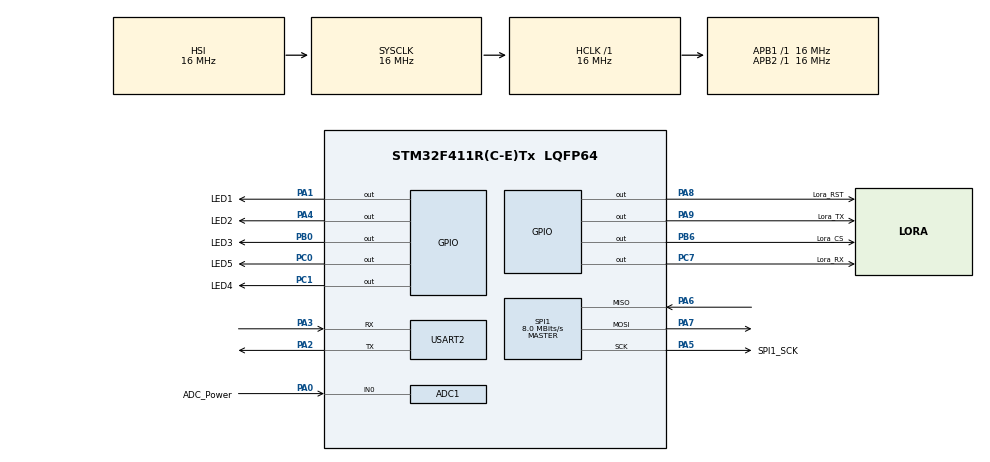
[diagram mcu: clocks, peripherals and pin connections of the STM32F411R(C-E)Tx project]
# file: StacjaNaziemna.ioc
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ADC1.Channel-0\#ChannelRegularConversion=ADC_CHANNEL_0
ADC1.NbrOfConversionFlag=1
ADC1.Rank-0\#ChannelRegularConversion=1
ADC1.SamplingTime-0\#ChannelRegularConversion=ADC_SAMPLETIME_3CYCLES
ADC1.master=1
Mcu.Family=STM32F4
Mcu.Name=STM32F411R(C-E)Tx
Mcu.Package=LQFP64
NVIC.PriorityGroup=NVIC_PRIORITYGROUP_4
NVIC.TIM1_TRG_COM_TIM11_IRQn=true\:0\:0\:false\:false\:true
NVIC.USART2_IRQn=true\:0\:0\:false\:false\:true
PA0-WKUP.GPIO_Label=ADC_Power
PA0-WKUP.Signal=ADCx_IN0
PA1.GPIO_Label=LED1
PA1.Signal=GPIO_Output
PA2.Mode=Asynchronous
PA2.Signal=USART2_TX
PA3.Mode=Asynchronous
PA3.Signal=USART2_RX
PA4.GPIO_Label=LED2
PA4.Signal=GPIO_Output
PA5.GPIO_Label=SPI1_SCK
PA5.Mode=Full_Duplex_Master
PA5.Signal=SPI1_SCK
PA6.Mode=Full_Duplex_Master
PA6.Signal=SPI1_MISO
PA7.Mode=Full_Duplex_Master
PA7.Signal=SPI1_MOSI
PA8.GPIO_Label=Lora_RST
PA8.Signal=GPIO_Output
PA9.GPIO_Label=Lora_TX
PA9.Signal=GPIO_Output
PB0.GPIO_Label=LED3
PB0.Signal=GPIO_Output
PB6.GPIO_Label=Lora_CS
PB6.Signal=GPIO_Output
PC0.GPIO_Label=LED5
PC0.Signal=GPIO_Output
PC1.GPIO_Label=LED4
PC1.Signal=GPIO_Output
PC7.GPIO_Label=Lora_RX
PC7.Signal=GPIO_Output
ProjectManager.HeapSize=0x200
ProjectManager.StackSize=0x400
ProjectManager.TargetToolchain=SW4STM32
RCC.AHBFreq_Value=16000000
RCC.APB1Freq_Value=16000000
RCC.APB2Freq_Value=16000000
RCC.CortexFreq_Value=16000000
RCC.HSE_VALUE=25000000
RCC.HSI_VALUE=16000000
RCC.LSE_VALUE=32768
RCC.SYSCLKFreq_VALUE=16000000
RCC.VCOOutputFreq_Value=192000000
SH.ADCx_IN0.0=ADC1_IN0,IN0
SPI1.CalculateBaudRate=8.0 MBits/s
SPI1.Direction=SPI_DIRECTION_2LINES
SPI1.Mode=SPI_MODE_MASTER
SPI1.VirtualType=VM_MASTER
TIM11.Period=799
TIM11.Prescaler=9999
USART2.VirtualMode=VM_ASYNC
VP_TIM11_VS_ClockSourceINT.Mode=Enable_Timer
board=StacjaNaziemna

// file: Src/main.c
/**
 ******************************************************************************
 * File Name          : main.c
 * Description        : Main program body
 ******************************************************************************
 ** This notice applies to any and all portions of this file
 * that are not between comment pairs USER CODE BEGIN and
 * USER CODE END. Other portions of this file, whether
 * inserted by the user or by software development tools
 * are owned by their respective copyright owners.
 *
 * COPYRIGHT(c) 2018 STMicroelectronics
 *
 * Redistribution and use in source and binary forms, with or without modification,
 * are permitted provided that the following conditions are met:
 *   1. Redistributions of source code must retain the above copyright notice,
 *      this list of conditions and the following disclaimer.
 *   2. Redistributions in binary form must reproduce the above copyright notice,
 *      this list of conditions and the following disclaimer in the documentation
 *      and/or other materials provided with the distribution.
 *   3. Neither the name of STMicroelectronics nor the names of its contributors
 *      may be used to endorse or promote products derived from this software
 *      without specific prior written permission.
 *
 * THIS SOFTWARE IS PROVIDED BY THE COPYRIGHT HOLDERS AND CONTRIBUTORS "AS IS"
 * AND ANY EXPRESS OR IMPLIED WARRANTIES, INCLUDING, BUT NOT LIMITED TO, THE
 * IMPLIED WARRANTIES OF MERCHANTABILITY AND FITNESS FOR A PARTICULAR PURPOSE ARE
 * DISCLAIMED. IN NO EVENT SHALL THE COPYRIGHT HOLDER OR CONTRIBUTORS BE LIABLE
 * FOR ANY DIRECT, INDIRECT, INCIDENTAL, SPECIAL, EXEMPLARY, OR CONSEQUENTIAL
 * DAMAGES (INCLUDING, BUT NOT LIMITED TO, PROCUREMENT OF SUBSTITUTE GOODS OR
 * SERVICES; LOSS OF USE, DATA, OR PROFITS; OR BUSINESS INTERRUPTION) HOWEVER
 * CAUSED AND ON ANY THEORY OF LIABILITY, WHETHER IN CONTRACT, STRICT LIABILITY,
 * OR TORT (INCLUDING NEGLIGENCE OR OTHERWISE) ARISING IN ANY WAY OUT OF THE USE
 * OF THIS SOFTWARE, EVEN IF ADVISED OF THE POSSIBILITY OF SUCH DAMAGE.
 *
 ******************************************************************************
 */
#include "main.h"
#include "stm32f4xx_hal.h"
#include "string.h"

/* USER CODE BEGIN Includes */
#include "aes.h"

#define FREQUENCY  868100000lu // in Mhz! (868.1)

#define DEV_ADDR                              (uint32_t)0x260112BA
// network session key
static const uint8_t NwkSKey[16] =
{ 0x47, 0xB8, 0xCE, 0xE5, 0xA2, 0x82, 0xBC, 0xB4, 0x73, 0xA0, 0xC1, 0xEF, 0x5C,
		0xF3, 0x01, 0x6A };

// application session key
static const uint8_t ArtSKey[16] =
{ 0x4F, 0xE9, 0xA8, 0x61, 0x02, 0x33, 0xA6, 0xA4, 0x7C, 0x87, 0x0D, 0xC4, 0x9C,
		0x10, 0x37, 0xF1 };

static const uint8_t dupa[46] =
{ '\r', '\n', '-', '-', '-', '-', '-', '-', '-', '-', '-', '-', '-', '-', '-',
		'-', '-', '-', '-', '-', '-', '-', '-', '-', '-', '-', '-', '-', '-',
		'-', '-', '-', '-', '-', '-', '-', '-', '-', '-', '-', '-', '-', '-',
		'\r', '\n' };

static const char main_error_strings[17][17] = {"I2C_PRESSURE_ERR", "I2C_RTC_ERR",
		"POWER_LED_FLAG", "I2C_MAX30205_ERR","I2C_HDC1080_ERR","I2C_INA3221_ERR",
		"I2C_GYRO_ERR", "I2C_ACC_ERR","I2C_BARO_ERR","DS18_ERR","SD_ERR",
		"GPS_ERR","WIFI_ERR","LORA_ERR", "ODCINACZ_FLAG", "RUNNING_FLAG"
};

static const char exp_error_strings[17][17] = {"TEMP1_DN_OK", "TEMP2_DN_OK","TEMP3_DN_OK",
		"TEMP4_DN_OK","TEMP5_DN_OK","TEMP6_DN_OK","TEMP1_UP_OK",
		"TEMP2_UP_OK","TEMP3_UP_OK","TEMP4_UP_OK","TEMP5_UP_OK",
		"TEMP6_UP_OK","RTC_ERR","LTC_ERR","SD_ERR",
		"RUNNING",
};
/* USER CODE END Includes */

ADC_HandleTypeDef hadc1;

SPI_HandleTypeDef hspi1;

TIM_HandleTypeDef htim11;

UART_HandleTypeDef huart2;

/* USER CODE BEGIN PV */
/* Private variables ---------------------------------------------------------*/
uint8_t requestedStateCommand[5];
uint8_t requestedState = 0;
volatile uint8_t UART_Received_Flag = 0;
/* USER CODE END PV */

void SystemClock_Config(void);
static void MX_GPIO_Init(void);
static void MX_ADC1_Init(void);
static void MX_USART2_UART_Init(void);
static void MX_SPI1_Init(void);
static void MX_TIM11_Init(void);

/* USER CODE BEGIN PFP */
/* Private function prototypes -----------------------------------------------*/
void writeLoraRegister(uint8_t address, uint8_t data);
uint8_t readLoraRegister(uint8_t address);
uint8_t clearBit(uint8_t value, uint8_t bit);
uint8_t setBit(uint8_t value, uint8_t bit);
void Lora_Init();
uint8_t LoraReceive();
uint8_t LoraWANParseDN(uint8_t* data, uint8_t len);
static void LoraWANTransmitByte(uint8_t* data, uint8_t size);
void LoraTransmitByte(uint8_t *data, uint8_t size);

void HAL_UART_RxCpltCallback(UART_HandleTypeDef *huart)
{
	UART_Received_Flag = 1;
	HAL_GPIO_WritePin(LED4_GPIO_Port, LED4_Pin, GPIO_PIN_SET);
	HAL_UART_Receive_IT(&huart2, requestedStateCommand, 5); // Ponowne w��czenie nas�uchiwania
}
void HAL_TIM_PeriodElapsedCallback(TIM_HandleTypeDef *htim);
/* USER CODE END PFP */

int main(void)
{

	/* MCU Configuration----------------------------------------------------------*/

	/* Reset of all peripherals, Initializes the Flash interface and the Systick. */
	HAL_Init();

	/* Configure the system clock */
	SystemClock_Config();

	/* Initialize all configured peripherals */
	MX_GPIO_Init();
	MX_ADC1_Init();
	MX_USART2_UART_Init();
	MX_SPI1_Init();
	MX_TIM11_Init();

	/* USER CODE BEGIN 2 */
	Lora_Init();
	uint8_t ReceivedNbOfBytes = 0;
	uint8_t FifoCurrRxAddr = 0;
	uint8_t UARTBufLen = 0;
	uint8_t ReceivedData[64];
	uint8_t ReceivedPayload[64];

	uint16_t statusMain = 0;
	uint16_t statusKom = 0;
	int32_t alt = 0;
	uint32_t lat = 0;
	uint32_t lon = 0;
	uint32_t tempInfo = 0;
	uint16_t lastUplink = 0;
	int16_t meanTemp = 0;
	uint32_t sec = 0;
	uint32_t tx_sec = 0;

	char UARTBuf[512];
	uint8_t DNframe[2] = {0x00, 0x01};
	strcpy((char*)requestedStateCommand, "NICOO");
	HAL_UART_Receive_IT(&huart2, requestedStateCommand, 5);
	/* USER CODE END 2 */

	/* Infinite loop */
	/* USER CODE BEGIN WHILE */
	while (1)
	{

		memset(UARTBuf, 0x00, sizeof(UARTBuf));
		UARTBufLen = 0;

		ReceivedNbOfBytes = LoraReceive();
		sec++;
		if (ReceivedNbOfBytes)
		{
			FifoCurrRxAddr = readLoraRegister(0x10);
			writeLoraRegister(0x0D, FifoCurrRxAddr);
			memset(ReceivedData, 0, sizeof(ReceivedData));

			UARTBufLen = sprintf(UARTBuf, "==================Received packet==================\r\nRaw  data = ");
			HAL_UART_Transmit(&huart2, (uint8_t *) UARTBuf, UARTBufLen, 100);

			UARTBufLen = 0;
			for (int i = 0; i < ReceivedNbOfBytes; i++)
			{
				if (i < sizeof(ReceivedData))
				{
					ReceivedData[i] = readLoraRegister(0x00);
				}
				UARTBufLen += sprintf(&UARTBuf[UARTBufLen], "%02x ", ReceivedData[i]);
			}
			UARTBufLen += sprintf(&UARTBuf[UARTBufLen], "\r\n");
			HAL_UART_Transmit(&huart2, (uint8_t *) UARTBuf, UARTBufLen, 100);

			if (LoraWANParseDN(ReceivedData, ReceivedNbOfBytes) == 0x01)
			{
				// packet verified and ok
				UARTBufLen = sprintf(UARTBuf, "Packet verified successfully\r\nDecrypted payload = ");
				HAL_UART_Transmit(&huart2, (uint8_t *) UARTBuf, UARTBufLen, 100);

				memcpy(ReceivedPayload, &ReceivedData[9], ReceivedNbOfBytes - 13);
				UARTBufLen = 0;
				for (int i = 0; i < ReceivedNbOfBytes - 13; i++)
				{
					UARTBufLen += sprintf(&UARTBuf[UARTBufLen], "%02x ", ReceivedPayload[i]);
				}
				UARTBufLen += sprintf(&UARTBuf[UARTBufLen], "\r\n");
				HAL_UART_Transmit(&huart2, (uint8_t *) UARTBuf, UARTBufLen, 100);

			    alt = (int32_t)((uint32_t)ReceivedPayload[0] << 24) + ((uint32_t)ReceivedPayload[1] << 16) + ((uint32_t)ReceivedPayload[2] << 8) + ((uint32_t)ReceivedPayload[3]);
			    lat = (uint32_t)(((uint32_t)ReceivedPayload[4] << 24) + ((uint32_t)ReceivedPayload[5] << 16) + ((uint32_t)ReceivedPayload[6] << 8) + ((uint32_t)ReceivedPayload[7]));
			    lon = (uint32_t)(((uint32_t)ReceivedPayload[8] << 24) + ((uint32_t)ReceivedPayload[9] << 16) + ((uint32_t)ReceivedPayload[10] << 8) + ((uint32_t)ReceivedPayload[11]));
			    meanTemp = (int16_t)((uint16_t)ReceivedPayload[12] << 8) + ((uint16_t)ReceivedPayload[13]);
			    tempInfo = (uint32_t)((uint32_t)ReceivedPayload[14] << 16) + ((uint32_t)ReceivedPayload[15] << 8) + ((uint32_t)ReceivedPayload[16]);
			    lastUplink =  ((uint16_t)ReceivedPayload[17] << 8) + ((uint16_t)ReceivedPayload[18]);
			    statusMain = ((uint16_t)ReceivedPayload[19] << 8) + ((uint16_t)ReceivedPayload[20]);
			    statusKom = ((uint16_t)ReceivedPayload[21] << 8) + ((uint16_t)ReceivedPayload[22]);

				UARTBufLen = sprintf(UARTBuf, "Altitude = %ld\r\n", alt);
				HAL_UART_Transmit(&huart2, (uint8_t *) UARTBuf, UARTBufLen, 100);
				UARTBufLen = sprintf(UARTBuf, "Lattitude = %lu\r\n", lat);
				HAL_UART_Transmit(&huart2, (uint8_t *) UARTBuf, UARTBufLen, 100);
				UARTBufLen = sprintf(UARTBuf, "Longitutde = %lu\r\n", lon);
				HAL_UART_Transmit(&huart2, (uint8_t *) UARTBuf, UARTBufLen, 100);
				UARTBufLen = sprintf(UARTBuf, "Mean Temp = %d\r\n", meanTemp);
				HAL_UART_Transmit(&huart2, (uint8_t *) UARTBuf, UARTBufLen, 100);
				UARTBufLen = sprintf(UARTBuf, "Temp Info = %08lx\r\n", tempInfo);
				HAL_UART_Transmit(&huart2, (uint8_t *) UARTBuf, UARTBufLen, 100);
				UARTBufLen = sprintf(UARTBuf, "Last Uplink = %04x\r\n", lastUplink);
				HAL_UART_Transmit(&huart2, (uint8_t *) UARTBuf, UARTBufLen, 100);
				UARTBufLen = sprintf(UARTBuf, "Status Main = %04x (", statusMain);
				HAL_UART_Transmit(&huart2, (uint8_t *) UARTBuf, UARTBufLen, 100);

				for (int i = 0; i < 15; i++)
				{
					if ((statusMain & (1 << i)) != 0)
					{
						UARTBufLen = sprintf((char*) UARTBuf, "%s,", main_error_strings[i]);
						HAL_UART_Transmit(&huart2, (uint8_t *) UARTBuf, UARTBufLen, 100);
					}
				}

				UARTBufLen = sprintf(UARTBuf, ")\r\nStatus Exp = %04x (", statusKom);
				HAL_UART_Transmit(&huart2, (uint8_t *) UARTBuf, UARTBufLen, 100);

				for (int i = 0; i < 15; i++)
				{
					if ((statusKom & (1 << i)) != 0)
					{
						UARTBufLen = sprintf((char*) UARTBuf, "%s,", exp_error_strings[i]);
						HAL_UART_Transmit(&huart2, (uint8_t *) UARTBuf, UARTBufLen, 100);
					}
				}
				UARTBufLen = sprintf(UARTBuf, ")\r\n");
				HAL_UART_Transmit(&huart2, (uint8_t *) UARTBuf, UARTBufLen, 100);

			}
			else
			{

			}
			HAL_Delay(5);

			/*
			 PktSnr = readLoraRegister(0x19);
			 PktSnr = 4 * PktSnr;
			 RSSI = readLoraRegister(0x1A);
			 if (PktSnr >= 0)
			 RSSI = RSSI - 139;
			 else
			 RSSI = RSSI - 139 + PktSnr * 0.25;
			 memset(PacketData, 0, sizeof(PacketData));
			 sprintf(PacketData, "\r\nPacket SNR = %d\n\rPacket RSSI = %d\r\n",
			 PktSnr, RSSI);
			 HAL_Delay(10);
			 HAL_UART_Transmit_IT(&huart2, (uint8_t *) PacketData,
			 sizeof(PacketData));
			 */
		}
		else
		{
			if (UART_Received_Flag)
			{
				// send immidiately if received data from uart
				UART_Received_Flag = 0;
				if (!strncmp((char*)&requestedStateCommand, "ODCIN", 5))
				{
					requestedState = 2;
				}
				else if ((char*)!strncmp(&requestedStateCommand, "POWON", 5))
				{
					requestedState = 3;
				}
				else if ((char*)!strncmp(&requestedStateCommand, "POWOF", 5))
				{
					requestedState = 4;
				}
				else if ((char*)!strncmp(&requestedStateCommand, "ODCOF", 5))
				{
					requestedState = 5;
				}
				else if ((char*)!strncmp(&requestedStateCommand, "START", 5))
				{
					requestedState = 6;
				}
				else if ((char*)!strncmp(&requestedStateCommand, "STOPP", 5))
				{
					requestedState = 7;
				}
				else if ((char*)!strncmp(&requestedStateCommand, "STAT0", 5))
				{
					requestedState = 0x10;
				}
				else if ((char*)!strncmp(&requestedStateCommand, "STAT1", 5))
				{
					requestedState = 0x11;
				}
				else if ((char*)!strncmp(&requestedStateCommand, "STAT2", 5))
				{
					requestedState = 0x12;
				}
				else if ((char*)!strncmp(&requestedStateCommand, "STAT3", 5))
				{
					requestedState = 0x13;
				}
				else
				{
					requestedState = 0;
				}
				switch (requestedState)
				{
				case 0x13:
					DNframe[0] = 0x00;
					DNframe[1] = 0x13;
					break;
				case 0x12:
					DNframe[0] = 0x00;
					DNframe[1] = 0x12;
					break;
				case 0x11:
					DNframe[0] = 0x00;
					DNframe[1] = 0x11;
					break;
				case 0x10:
					DNframe[0] = 0x00;
					DNframe[1] = 0x10;
					break;
				case 7:
					DNframe[0] = 0x00;
					DNframe[1] = 0x07;
					break;
				case 6:
					DNframe[0] = 0x00;
					DNframe[1] = 0x06;
					break;
				case 5:
					DNframe[0] = 0x00;
					DNframe[1] = 0x05;
					break;
				case 4:
					DNframe[0] = 0x00;
					DNframe[1] = 0x04;
					break;
				case 3:
					DNframe[0] = 0x00;
					DNframe[1] = 0x03;
					break;
				case 2:
					DNframe[0] = 0x00;
					DNframe[1] = 0x02;
					break;
				default:
					DNframe[0] = 0x00;
					DNframe[1] = 0x01;
					break;
				}
				LoraWANTransmitByte(DNframe, 2);
				tx_sec = sec;
				UARTBufLen = sprintf(UARTBuf, "Sent %02x %02x \r\n", DNframe[0], DNframe[1]);
				HAL_UART_Transmit(&huart2, (uint8_t *) UARTBuf, UARTBufLen, 100);
			}
			else
			{
				if (sec-tx_sec > 150)
				{
					// if time passed from last TX
					DNframe[0] = 0x00;
					DNframe[1] = 0x01;
					LoraWANTransmitByte(DNframe, 2);
					tx_sec = sec;
					UARTBufLen = sprintf(UARTBuf, "Sent %02x %02x \r\n", DNframe[0], DNframe[1]);
					HAL_UART_Transmit(&huart2, (uint8_t *) UARTBuf, UARTBufLen, 100);
				}
			}

			memset(UARTBuf, 0, sizeof(UARTBuf));
			UARTBufLen = sprintf(UARTBuf, ".");
			HAL_UART_Transmit(&huart2, (uint8_t *) UARTBuf, UARTBufLen, 100);
			HAL_GPIO_TogglePin(LED3_GPIO_Port, LED3_Pin);
			HAL_Delay(5);
			//HAL_GPIO_WritePin(LED3_GPIO_Port, LED3_Pin, GPIO_PIN_RESET);
		}
		/* USER CODE END WHILE */
		/* USER CODE BEGIN 3 */

		/* USER CODE BEGIN 3 */
	}
	/* USER CODE END 3 */

}

/** System Clock Configuration
 */
void SystemClock_Config(void)
{

	RCC_OscInitTypeDef RCC_OscInitStruct;
	RCC_ClkInitTypeDef RCC_ClkInitStruct;

	/**Configure the main internal regulator output voltage
	 */
	__HAL_RCC_PWR_CLK_ENABLE()
	;

	__HAL_PWR_VOLTAGESCALING_CONFIG(PWR_REGULATOR_VOLTAGE_SCALE1);

	/**Initializes the CPU, AHB and APB busses clocks
	 */
	RCC_OscInitStruct.OscillatorType = RCC_OSCILLATORTYPE_HSI;
	RCC_OscInitStruct.HSIState = RCC_HSI_ON;
	RCC_OscInitStruct.HSICalibrationValue = 16;
	RCC_OscInitStruct.PLL.PLLState = RCC_PLL_NONE;
	if (HAL_RCC_OscConfig(&RCC_OscInitStruct) != HAL_OK)
	{
		_Error_Handler(__FILE__, __LINE__);
	}

	/**Initializes the CPU, AHB and APB busses clocks
	 */
	RCC_ClkInitStruct.ClockType = RCC_CLOCKTYPE_HCLK | RCC_CLOCKTYPE_SYSCLK
			| RCC_CLOCKTYPE_PCLK1 | RCC_CLOCKTYPE_PCLK2;
	RCC_ClkInitStruct.SYSCLKSource = RCC_SYSCLKSOURCE_HSI;
	RCC_ClkInitStruct.AHBCLKDivider = RCC_SYSCLK_DIV1;
	RCC_ClkInitStruct.APB1CLKDivider = RCC_HCLK_DIV1;
	RCC_ClkInitStruct.APB2CLKDivider = RCC_HCLK_DIV1;

	if (HAL_RCC_ClockConfig(&RCC_ClkInitStruct, FLASH_LATENCY_0) != HAL_OK)
	{
		_Error_Handler(__FILE__, __LINE__);
	}

	/**Configure the Systick interrupt time
	 */
	HAL_SYSTICK_Config(HAL_RCC_GetHCLKFreq() / 1000);

	/**Configure the Systick
	 */
	HAL_SYSTICK_CLKSourceConfig(SYSTICK_CLKSOURCE_HCLK);

	/* SysTick_IRQn interrupt configuration */
	HAL_NVIC_SetPriority(SysTick_IRQn, 0, 0);
}

/* ADC1 init function */
static void MX_ADC1_Init(void)
{

	ADC_ChannelConfTypeDef sConfig;

	/**Configure the global features of the ADC (Clock, Resolution, Data Alignment and number of conversion)
	 */
	hadc1.Instance = ADC1;
	hadc1.Init.ClockPrescaler = ADC_CLOCK_SYNC_PCLK_DIV2;
	hadc1.Init.Resolution = ADC_RESOLUTION_12B;
	hadc1.Init.ScanConvMode = DISABLE;
	hadc1.Init.ContinuousConvMode = DISABLE;
	hadc1.Init.DiscontinuousConvMode = DISABLE;
	hadc1.Init.ExternalTrigConvEdge = ADC_EXTERNALTRIGCONVEDGE_NONE;
	hadc1.Init.ExternalTrigConv = ADC_SOFTWARE_START;
	hadc1.Init.DataAlign = ADC_DATAALIGN_RIGHT;
	hadc1.Init.NbrOfConversion = 1;
	hadc1.Init.DMAContinuousRequests = DISABLE;
	hadc1.Init.EOCSelection = ADC_EOC_SINGLE_CONV;
	if (HAL_ADC_Init(&hadc1) != HAL_OK)
	{
		_Error_Handler(__FILE__, __LINE__);
	}

	/**Configure for the selected ADC regular channel its corresponding rank in the sequencer and its sample time.
	 */
	sConfig.Channel = ADC_CHANNEL_0;
	sConfig.Rank = 1;
	sConfig.SamplingTime = ADC_SAMPLETIME_3CYCLES;
	if (HAL_ADC_ConfigChannel(&hadc1, &sConfig) != HAL_OK)
	{
		_Error_Handler(__FILE__, __LINE__);
	}

}

/* SPI1 init function */
static void MX_SPI1_Init(void)
{

	hspi1.Instance = SPI1;
	hspi1.Init.Mode = SPI_MODE_MASTER;
	hspi1.Init.Direction = SPI_DIRECTION_2LINES;
	hspi1.Init.DataSize = SPI_DATASIZE_8BIT;
	hspi1.Init.CLKPolarity = SPI_POLARITY_LOW;
	hspi1.Init.CLKPhase = SPI_PHASE_1EDGE;
	hspi1.Init.NSS = SPI_NSS_SOFT;
	hspi1.Init.BaudRatePrescaler = SPI_BAUDRATEPRESCALER_2;
	hspi1.Init.FirstBit = SPI_FIRSTBIT_MSB;
	hspi1.Init.TIMode = SPI_TIMODE_DISABLE;
	hspi1.Init.CRCCalculation = SPI_CRCCALCULATION_DISABLE;
	hspi1.Init.CRCPolynomial = 10;
	if (HAL_SPI_Init(&hspi1) != HAL_OK)
	{
		_Error_Handler(__FILE__, __LINE__);
	}

}

/* TIM11 init function */
static void MX_TIM11_Init(void)
{

	htim11.Instance = TIM11;
	htim11.Init.Prescaler = 9999;
	htim11.Init.CounterMode = TIM_COUNTERMODE_UP;
	htim11.Init.Period = 799;
	htim11.Init.ClockDivision = TIM_CLOCKDIVISION_DIV1;
	if (HAL_TIM_Base_Init(&htim11) != HAL_OK)
	{
		_Error_Handler(__FILE__, __LINE__);
	}

}

/* USART2 init function */
static void MX_USART2_UART_Init(void)
{

	huart2.Instance = USART2;
	huart2.Init.BaudRate = 115200;
	huart2.Init.WordLength = UART_WORDLENGTH_8B;
	huart2.Init.StopBits = UART_STOPBITS_1;
	huart2.Init.Parity = UART_PARITY_NONE;
	huart2.Init.Mode = UART_MODE_TX_RX;
	huart2.Init.HwFlowCtl = UART_HWCONTROL_NONE;
	huart2.Init.OverSampling = UART_OVERSAMPLING_16;
	if (HAL_UART_Init(&huart2) != HAL_OK)
	{
		_Error_Handler(__FILE__, __LINE__);
	}

}

/** Configure pins as
 * Analog
 * Input
 * Output
 * EVENT_OUT
 * EXTI
 */
static void MX_GPIO_Init(void)
{

	GPIO_InitTypeDef GPIO_InitStruct;

	/* GPIO Ports Clock Enable */
	__HAL_RCC_GPIOC_CLK_ENABLE()
	;
	__HAL_RCC_GPIOA_CLK_ENABLE()
	;
	__HAL_RCC_GPIOB_CLK_ENABLE()
	;

	/*Configure GPIO pin Output Level */
	HAL_GPIO_WritePin(GPIOC, LED5_Pin | LED4_Pin | Lora_RX_Pin, GPIO_PIN_RESET);

	/*Configure GPIO pin Output Level */
	HAL_GPIO_WritePin(GPIOA, LED1_Pin | LED2_Pin | Lora_RST_Pin | Lora_TX_Pin,
			GPIO_PIN_RESET);

	/*Configure GPIO pin Output Level */
	HAL_GPIO_WritePin(GPIOB, LED3_Pin | Lora_CS_Pin, GPIO_PIN_RESET);

	/*Configure GPIO pins : LED5_Pin LED4_Pin Lora_RX_Pin */
	GPIO_InitStruct.Pin = LED5_Pin | LED4_Pin | Lora_RX_Pin;
	GPIO_InitStruct.Mode = GPIO_MODE_OUTPUT_PP;
	GPIO_InitStruct.Pull = GPIO_NOPULL;
	GPIO_InitStruct.Speed = GPIO_SPEED_FREQ_LOW;
	HAL_GPIO_Init(GPIOC, &GPIO_InitStruct);

	/*Configure GPIO pins : LED1_Pin LED2_Pin Lora_RST_Pin Lora_TX_Pin */
	GPIO_InitStruct.Pin = LED1_Pin | LED2_Pin | Lora_RST_Pin | Lora_TX_Pin;
	GPIO_InitStruct.Mode = GPIO_MODE_OUTPUT_PP;
	GPIO_InitStruct.Pull = GPIO_NOPULL;
	GPIO_InitStruct.Speed = GPIO_SPEED_FREQ_LOW;
	HAL_GPIO_Init(GPIOA, &GPIO_InitStruct);

	/*Configure GPIO pins : LED3_Pin Lora_CS_Pin */
	GPIO_InitStruct.Pin = LED3_Pin | Lora_CS_Pin;
	GPIO_InitStruct.Mode = GPIO_MODE_OUTPUT_PP;
	GPIO_InitStruct.Pull = GPIO_NOPULL;
	GPIO_InitStruct.Speed = GPIO_SPEED_FREQ_LOW;
	HAL_GPIO_Init(GPIOB, &GPIO_InitStruct);

}

/* USER CODE BEGIN 4 */
void writeLoraRegister(uint8_t address, uint8_t data)
{
	HAL_GPIO_WritePin(Lora_CS_GPIO_Port, Lora_CS_Pin, GPIO_PIN_RESET);
	address = setBit(address, 7);
	HAL_SPI_Transmit(&hspi1, &address, 1, 1000);
	HAL_SPI_Transmit(&hspi1, &data, 1, 1000);
	HAL_GPIO_WritePin(Lora_CS_GPIO_Port, Lora_CS_Pin, GPIO_PIN_SET);
}

uint8_t readLoraRegister(uint8_t address)
{
	HAL_GPIO_WritePin(Lora_CS_GPIO_Port, Lora_CS_Pin, GPIO_PIN_RESET);
	uint8_t value = 0x00;
	address = clearBit(address, 7);
	HAL_SPI_Transmit(&hspi1, &address, 1, 1000);
	HAL_SPI_Receive(&hspi1, &value, 1, 1000);
	HAL_GPIO_WritePin(Lora_CS_GPIO_Port, Lora_CS_Pin, GPIO_PIN_SET);
	;
	return value;
}

uint8_t setBit(uint8_t value, uint8_t bit)
{
	value |= (1 << bit);
	return value;
}

uint8_t clearBit(uint8_t value, uint8_t bit)
{
	value &= ~(1 << bit);
	return value;
}

void Lora_Init()
{
	uint64_t frf = ((uint64_t) FREQUENCY << 19) / 32000000;

	HAL_GPIO_WritePin(Lora_RST_GPIO_Port, Lora_RST_Pin, GPIO_PIN_SET);
	HAL_Delay(100);
	HAL_GPIO_WritePin(Lora_RST_GPIO_Port, Lora_RST_Pin, GPIO_PIN_RESET);
	HAL_Delay(10);

	//Opmode - sleep -> lora -> standby
	writeLoraRegister(0x01, 0x00);
	writeLoraRegister(0x01, 0x80);
	writeLoraRegister(0x01, 0x81);

	// Max Payload length = 255
	writeLoraRegister(0x23, 255);

	// LNA gain = maximum, LNA boot = yes
	writeLoraRegister(0x0C, 0x23);

	// Bandwidth = 125kHz, CR 4/5, Explicit Header Mode, CRC enable, Low Data Rate Optimization on
	writeLoraRegister(0x1D, 0x0B);

	// Spreading Factor 12, LNA gain set by the internal AGC loop, RX timeout MSB = 0b11
	writeLoraRegister(0x1E, 0xC4);   //bylo C5
	// RX timeout LSB = 0xFF
	writeLoraRegister(0x1F, 0x1E);   //bylo A0

	// Sync Word = 0x34 (LoRaWAN sync word)
	writeLoraRegister(0x39, 0x34);

	//868.1 MHz - LoRaWAN channel 1
	writeLoraRegister(0x06, (uint8_t) (frf >> 16));
	writeLoraRegister(0x07, (uint8_t) (frf >> 8));
	writeLoraRegister(0x08, (uint8_t) (frf >> 0));

	// max output power, no PA_BOOST
	writeLoraRegister(0x09, 0x8F);
}

void LoraTransmitByte(uint8_t *data, uint8_t size)
{
	HAL_GPIO_WritePin(Lora_TX_GPIO_Port, Lora_TX_Pin, GPIO_PIN_SET);
	HAL_GPIO_WritePin(Lora_RX_GPIO_Port, Lora_RX_Pin, GPIO_PIN_RESET);
	writeLoraRegister(0x22, size);
	writeLoraRegister(0x11, 0xFF);
	writeLoraRegister(0x12, 0b11111111);
	writeLoraRegister(0x11, 0x00);
	uint8_t TxDoneInterrupt = readLoraRegister(0x12);
	writeLoraRegister(0x0D, 0x80);
	for (int i = 0; i < size; i++)
	{
		writeLoraRegister(0x00, *data);
		data++;
	}
	writeLoraRegister(0x01, 0x83);
	TxDoneInterrupt = readLoraRegister(0x12);
	TxDoneInterrupt &= (1 << 3);
	while ((TxDoneInterrupt == 0))
	{
		TxDoneInterrupt = readLoraRegister(0x12);
		TxDoneInterrupt &= (1 << 3);
	}
	readLoraRegister(0x01);
}

uint8_t LoraReceive()
{
	HAL_GPIO_WritePin(Lora_RX_GPIO_Port, Lora_RX_Pin, GPIO_PIN_SET);
	HAL_GPIO_WritePin(Lora_TX_GPIO_Port, Lora_TX_Pin, GPIO_PIN_RESET);
	writeLoraRegister(0x11, 0xFF);
	writeLoraRegister(0x12, 0b11111111);
	writeLoraRegister(0x11, 0x00);
	writeLoraRegister(0x0D, 0x00);
	writeLoraRegister(0x01, 0x86);
	int RxDoneInterrupt = readLoraRegister(0x12);
	int RxTimeoutInterrupt = RxDoneInterrupt;
	RxDoneInterrupt &= (1 << 6);
	RxTimeoutInterrupt &= (1 << 7);
	while (RxDoneInterrupt == 0 && RxTimeoutInterrupt == 0)
	{
		RxDoneInterrupt = readLoraRegister(0x12);
		RxTimeoutInterrupt = RxDoneInterrupt;
		RxDoneInterrupt &= (1 << 6);
		RxTimeoutInterrupt &= (1 << 7);
		HAL_Delay(1);
	}
	uint8_t NbofBytes = readLoraRegister(0x13);
	if (RxTimeoutInterrupt > 0)
		NbofBytes = 0;
	return NbofBytes;
}

uint8_t LoraWANParseDN(uint8_t* data, uint8_t len)
{
	uint8_t returncode = 0x00;
	uint16_t cnt = ((uint16_t) (data[7] << 8) + (data[6] & 0xFF));
	uint32_t addr = ((uint32_t) ((data[4] << 24) + (data[3] << 16)
			+ (data[2] << 8) + (data[1] & 0xFF)));
	if ((aes_verifyMic(NwkSKey, DEV_ADDR, cnt, 0, data, len - 4))
			&& (addr == DEV_ADDR ))
	{
		returncode = 0x01;
		aes_cipher(ArtSKey, DEV_ADDR, cnt, 0, &data[9], len - 13);
	}
	return returncode;
}

static void LoraWANTransmitByte(uint8_t* data, uint8_t size)
{
	uint8_t UplinkFrame[20];
	for (int i = 0; i < size; i++)
	{
		UplinkFrame[9 + i] = data[i];
	}
	UplinkFrame[0] = 0x60; //data unconfirmed up
	UplinkFrame[1] = (uint8_t) (DEV_ADDR & 0xFF);
	UplinkFrame[2] = (uint8_t) (DEV_ADDR >> 8);
	UplinkFrame[3] = (uint8_t) (DEV_ADDR >> 16);
	UplinkFrame[4] = (uint8_t) (DEV_ADDR >> 24);
	UplinkFrame[5] = 0x00; //FCtrl
	UplinkFrame[6] = 0x00; //Fcnt msb
	UplinkFrame[7] = 0x00; //Fcnt lsb
	UplinkFrame[8] = 0x01; //port
	aes_cipher(ArtSKey, DEV_ADDR, 0, /*up*/1, &UplinkFrame[9], size);
	aes_appendMic(NwkSKey, DEV_ADDR, 0, /*up*/1, UplinkFrame, size + 9);
	LoraTransmitByte(UplinkFrame, size + 13);
}

void HAL_TIM_PeriodElapsedCallback(TIM_HandleTypeDef *htim)
{
if (htim->Instance == TIM11)
{ // Je�eli przerwanie pochodzi od timera 10
	HAL_GPIO_TogglePin(LED3_GPIO_Port, LED3_Pin);
}
}

/* USER CODE END 4 */

void _Error_Handler(char * file, int line)
{
while (1)
{
}
}

/************************ (C) COPYRIGHT STMicroelectronics *****END OF FILE****/
